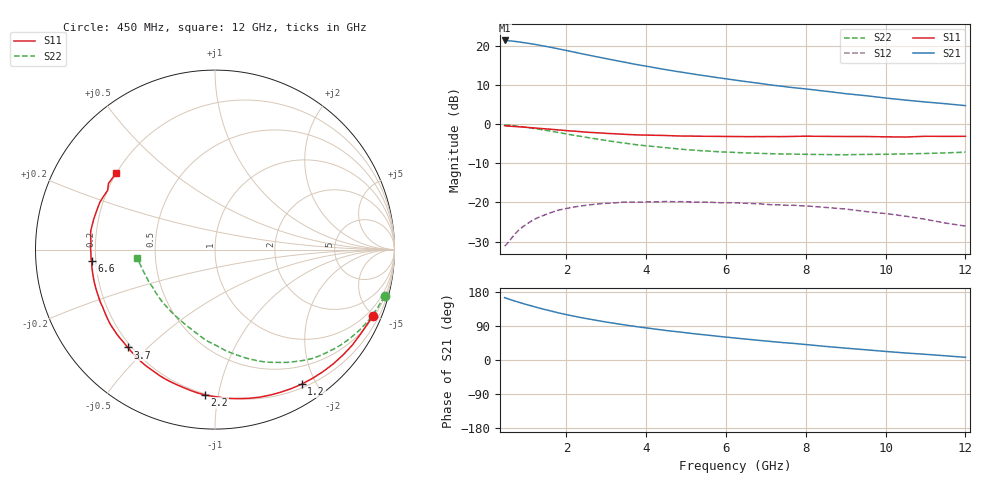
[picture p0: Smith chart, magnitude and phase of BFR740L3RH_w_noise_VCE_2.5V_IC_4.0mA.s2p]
! (c) 2012  Infineon Technologies AG, Munich
! Infineon Technologies  Discrete & RF Semiconductors
! BFR740L3RH
! VCE =  2.5 V,  IC =  4.0 mA
! Common Emitter S-Parameters:  May 2012
# GHz  S  MA  R  50
!  f  S11  S21  S12  S22
! GHz  MAG  ANG  MAG  ANG  MAG  ANG  MAG  ANG
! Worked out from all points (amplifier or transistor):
!   85 points, 450 MHz to 12 GHz, reference 50 ohm
!   highest |S21| = 21.4 dB at 450 MHz (marker M1)
!   |S21| within 3 dB of that: start of sweep to 2.205 GHz
!   unconditionally stable (mu >= 1): 9.391 GHz to end of sweep
!   at 1.8 GHz: K = 0.13, MSG = 20.6 dB, |S12| = -22.0 dB
!   at 4.6 GHz: K = 0.33, MSG = 16.8 dB, |S12| = -19.8 dB
!   at 12 GHz: K = 2.16, MAG = 9.3 dB, |S12| = -26.1 dB
!   lowest NFmin = 0.35 dB at 450 MHz
!   S11 on the Smith chart (normalised r, x): 450 MHz: 0.59, -4.85; 1.2 GHz: 0.25, -1.81; 2.2 GHz: 0.19, -0.91; 3.7 GHz: 0.19, -0.44; 6.6 GHz: 0.18, -0.05; 12 GHz: 0.20, +0.33
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0.45  0.9535 -23.0  11.69 164.6  0.0276 81.3  0.9794 -15.3
0.6  0.9379 -30.1  11.53 159.2  0.0336 71.5  0.9611 -20.0
0.8  0.924 -39.5  11.2 152.5  0.0442 64.7  0.9351 -26.2
1  0.9079 -48.6  10.83 146.3  0.0526 59.5  0.9075 -31.9
1.2  0.8918 -57.2  10.43 140.5  0.0609 55.1  0.877 -37.6
1.4  0.8746 -65.4  10 134.8  0.0674 50.1  0.8452 -42.8
1.7  0.8504 -76.9  9.347 127.0  0.0767 42.8  0.7976 -50.4
2  0.8252 -87.6  8.703 119.7  0.0836 37.6  0.7482 -57.1
2.2  0.8119 -94.0  8.286 115.4  0.0874 33.9  0.7169 -61.2
2.4  0.7956 -100.1  7.883 111.2  0.0906 30.4  0.6907 -65.2
2.8  0.7726 -111.0  7.169 103.7  0.0955 24.2  0.6399 -72.3
3  0.761 -116.1  6.847 100.1  0.0973 21.7  0.617 -75.6
3.3  0.748 -123.3  6.391 95.1  0.0995 17.9  0.5857 -80.5
3.7  0.7302 -131.7  5.832 88.9  0.1008 12.7  0.5489 -86.7
4.3  0.7179 -142.6  5.15 80.6  0.1015 7.1  0.5109 -94.8
5.2  0.7009 -157.1  4.34 69.3  0.101 -1.0  0.4639 -106.1
6.3  0.6934 -171.0  3.603 57.2  0.0983 -8.5  0.4324 -119.3
6.6  0.691 -174.6  3.433 54.2  0.097 -11.0  0.4263 -122.9
7.2  0.6928 179.0  3.124 48.1  0.0931 -14.7  0.4177 -129.9
8.5  0.6967 166.0  2.627 35.8  0.0862 -23.2  0.408 -143.8
10.5  0.6833 151.0  2.024 18.5  0.0667 -34.6  0.4164 -162.6
12  0.6979 142.3  1.72 7.1  0.0498 -34.2  0.4374 -174.1
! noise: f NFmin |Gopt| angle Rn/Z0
0.45  0.35  0.51  4  0.17
0.9  0.37  0.5  16  0.17
1.5  0.4  0.51  30  0.15
1.9  0.43  0.52  38  0.15
2.4  0.48  0.51  47  0.15
3.5  0.58  0.51  68  0.13
5.5  0.8  0.56  99  0.1
8  1.08  0.5  137  0.08
10  1.29  0.51  162  0.05
12  1.5  0.56  -163  0.04
